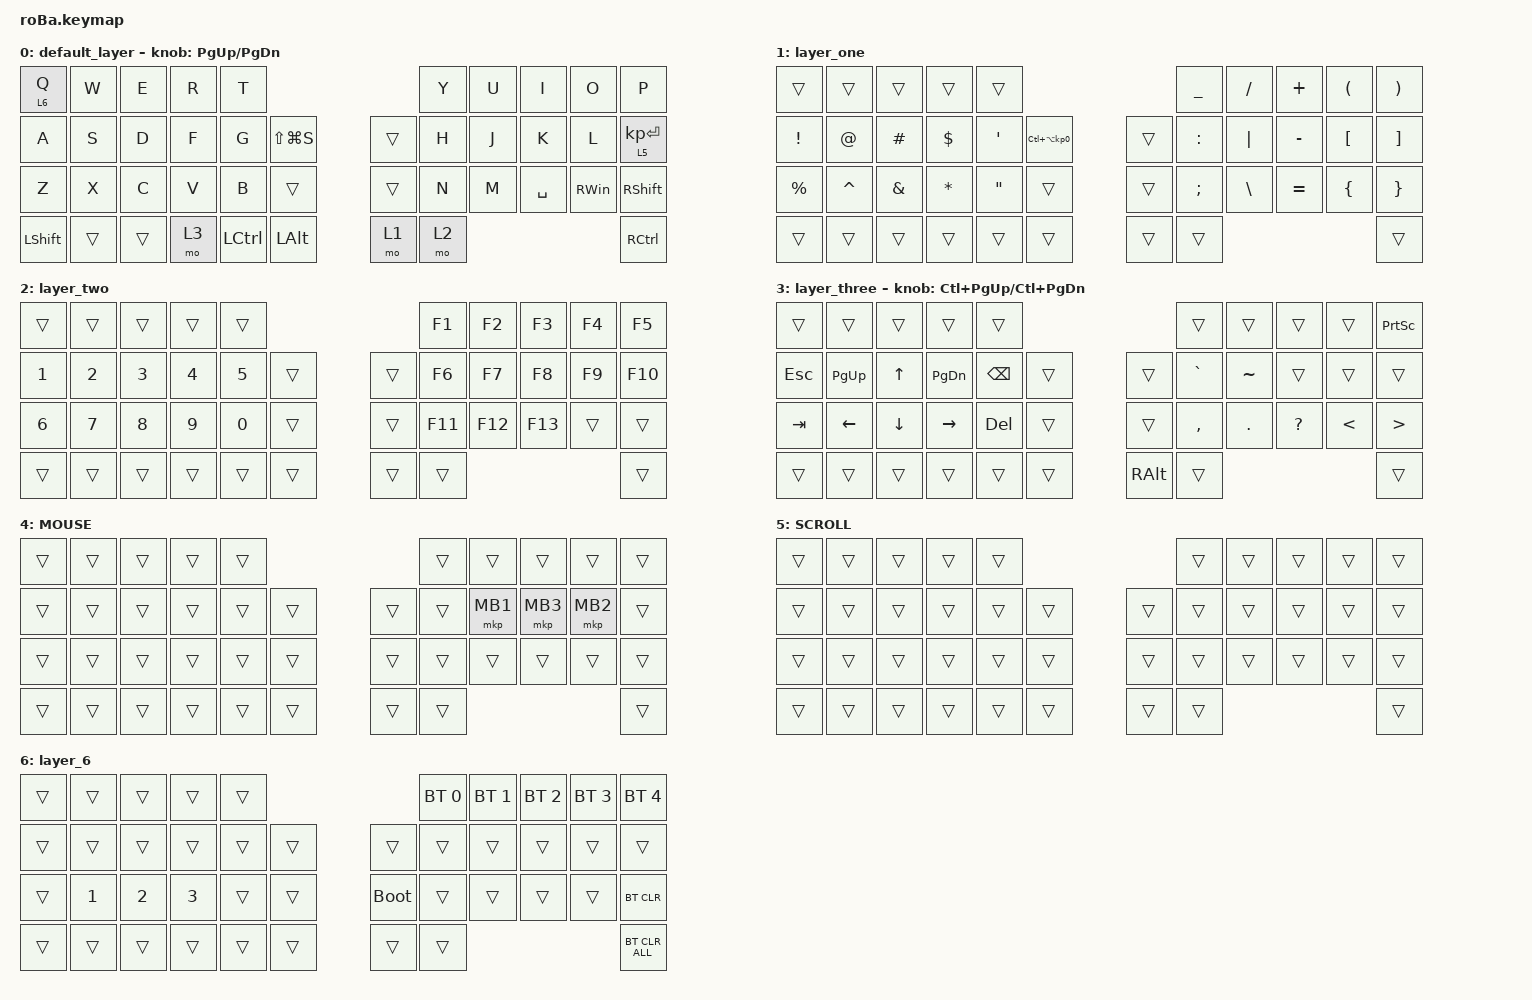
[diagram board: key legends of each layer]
#include <behaviors.dtsi>
#include <dt-bindings/zmk/bt.h>
#include <dt-bindings/zmk/keys.h>
#include <dt-bindings/zmk/pointing.h>

#define MOUSE 4
#define SCROLL 5
#define NUM 6

&mt {
    flavor = "balanced";
    quick-tap-ms = <0>;
};

/ {
    combos {
        compatible = "zmk,combos";

        tab {
            bindings = <&kp TAB>;
            key-positions = <11 12>;
        };

        shift_tab {
            bindings = <&kp LS(TAB)>;
            key-positions = <12 13>;
        };

        muhennkann {
            bindings = <&to_layer_0 INT_MUHENKAN>;
            key-positions = <11 10>;
        };

        double_quotation {
            bindings = <&kp DOUBLE_QUOTES>;
            key-positions = <20 21>;
        };

        eq {
            bindings = <&kp EQUAL>;
            key-positions = <24 25>;
        };
    };

    macros {
        to_layer_0: to_layer_0 {
            compatible = "zmk,behavior-macro-one-param";
            #binding-cells = <1>;
            bindings = <&to 0 &macro_param_1to1 &kp MACRO_PLACEHOLDER>;
            label = "TO_LAYER_0";
        };
    };

    behaviors {
        lt_to_layer_0: lt_to_layer_0 {
            compatible = "zmk,behavior-hold-tap";
            label = "LAYER_TAP_TO_0";
            bindings = <&mo>, <&to_layer_0>;

            #binding-cells = <2>;
            tapping-term-ms = <200>;
        };
    };

    keymap {
        compatible = "zmk,keymap";

        default_layer {
            bindings = <
&lt_to_layer_0 6 Q  &kp W   &kp E   &kp R  &kp T                                 &kp Y  &kp U  &kp I      &kp O     &kp P
&kp A               &kp S   &kp D   &kp F  &kp G      &kp LS(LG(S))      &trans  &kp H  &kp J  &kp K      &kp L     &lt 5 KP_ENTER
&kp Z               &kp X   &kp C   &kp V  &kp B      &trans             &trans  &kp N  &kp M  &kp SPACE  &kp RWIN  &kp RSHIFT
&kp LSHIFT          &trans  &trans  &mo 3  &kp LCTRL  &kp LALT           &mo 1   &mo 2                              &kp RCTRL
            >;

            sensor-bindings = <&inc_dec_kp PG_UP PAGE_DOWN>;
        };

        layer_one {
            bindings = <
&trans           &trans       &trans         &trans        &trans                                                  &kp UNDERSCORE  &kp SLASH      &kp PLUS   &kp LEFT_PARENTHESIS  &kp RIGHT_PARENTHESIS
&kp EXCLAMATION  &kp AT_SIGN  &kp HASH       &kp DOLLAR    &kp SQT            &kp LC(LA(KP_NUMBER_0))      &trans  &kp COLON       &kp PIPE       &kp MINUS  &kp LEFT_BRACKET      &kp RIGHT_BRACKET
&kp PERCENT      &kp CARET    &kp AMPERSAND  &kp ASTERISK  &kp DOUBLE_QUOTES  &trans                       &trans  &kp SEMICOLON   &kp BACKSLASH  &kp EQUAL  &kp LEFT_BRACE        &kp RIGHT_BRACE
&trans           &trans       &trans         &trans        &trans             &trans                       &trans  &trans                                                          &trans
            >;
        };

        layer_two {
            bindings = <
&trans        &trans        &trans        &trans        &trans                            &kp F1   &kp F2   &kp F3   &kp F4  &kp F5
&kp NUMBER_1  &kp NUMBER_2  &kp NUMBER_3  &kp NUMBER_4  &kp NUMBER_5  &trans      &trans  &kp F6   &kp F7   &kp F8   &kp F9  &kp F10
&kp NUMBER_6  &kp NUMBER_7  &kp NUMBER_8  &kp NUMBER_9  &kp NUMBER_0  &trans      &trans  &kp F11  &kp F12  &kp F13  &trans  &trans
&trans        &trans        &trans        &trans        &trans        &trans      &trans  &trans                             &trans
            >;
        };

        layer_three {
            bindings = <
&trans   &trans          &trans          &trans           &trans                               &trans     &trans      &trans        &trans         &kp PRINTSCREEN
&kp ESC  &kp PAGE_UP     &kp UP_ARROW    &kp PG_DN        &kp BACKSPACE  &trans      &trans    &kp GRAVE  &kp TILDE   &trans        &trans         &trans
&kp TAB  &kp LEFT_ARROW  &kp DOWN_ARROW  &kp RIGHT_ARROW  &kp DELETE     &trans      &trans    &kp COMMA  &kp PERIOD  &kp QUESTION  &kp LESS_THAN  &kp GREATER_THAN
&trans   &trans          &trans          &trans           &trans         &trans      &kp RALT  &trans                                              &trans
            >;

            sensor-bindings = <&inc_dec_kp LC(PAGE_UP) LC(PAGE_DOWN)>;
        };

        MOUSE {
            bindings = <
&trans  &trans  &trans  &trans  &trans                      &trans  &trans    &trans    &trans    &trans
&trans  &trans  &trans  &trans  &trans  &trans      &trans  &trans  &mkp MB1  &mkp MB3  &mkp MB2  &trans
&trans  &trans  &trans  &trans  &trans  &trans      &trans  &trans  &trans    &trans    &trans    &trans
&trans  &trans  &trans  &trans  &trans  &trans      &trans  &trans                                &trans
            >;
        };

        SCROLL {
            bindings = <
&trans  &trans  &trans  &trans  &trans                      &trans  &trans  &trans  &trans  &trans
&trans  &trans  &trans  &trans  &trans  &trans      &trans  &trans  &trans  &trans  &trans  &trans
&trans  &trans  &trans  &trans  &trans  &trans      &trans  &trans  &trans  &trans  &trans  &trans
&trans  &trans  &trans  &trans  &trans  &trans      &trans  &trans                          &trans
            >;
        };

        layer_6 {
            bindings = <
&trans  &trans        &trans        &trans        &trans                           &bt BT_SEL 0  &bt BT_SEL 1  &bt BT_SEL 2  &bt BT_SEL 3  &bt BT_SEL 4
&trans  &trans        &trans        &trans        &trans  &trans      &trans       &trans        &trans        &trans        &trans        &trans
&trans  &kp NUMBER_1  &kp NUMBER_2  &kp NUMBER_3  &trans  &trans      &bootloader  &trans        &trans        &trans        &trans        &bt BT_CLR
&trans  &trans        &trans        &trans        &trans  &trans      &trans       &trans                                                  &bt BT_CLR_ALL
            >;
        };
    };
};
